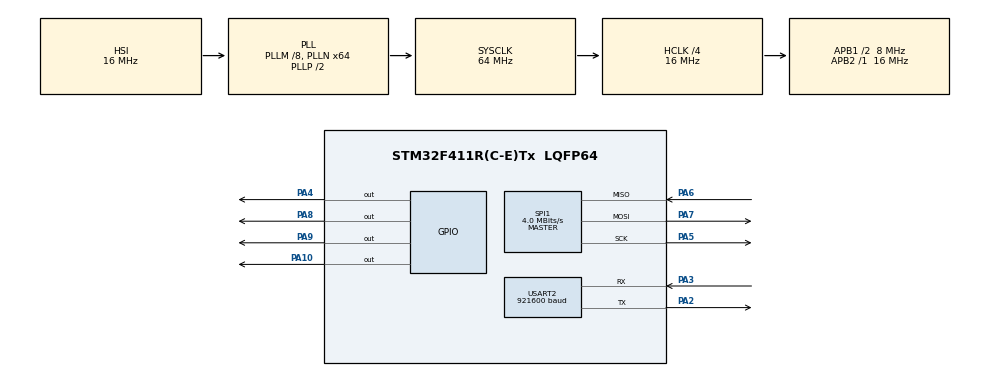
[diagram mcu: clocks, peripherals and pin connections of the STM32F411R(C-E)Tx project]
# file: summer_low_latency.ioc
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Mcu.Family=STM32F4
Mcu.Name=STM32F411R(C-E)Tx
Mcu.Package=LQFP64
NVIC.PriorityGroup=NVIC_PRIORITYGROUP_4
NVIC.TIM2_IRQn=true\:0\:0\:false\:false\:true\:true\:true\:true
PA10.Signal=GPIO_Output
PA13.Mode=Trace_Asynchronous_SW
PA13.Signal=SYS_JTMS-SWDIO
PA14.Mode=Trace_Asynchronous_SW
PA14.Signal=SYS_JTCK-SWCLK
PA2.Mode=Asynchronous
PA2.Signal=USART2_TX
PA3.Mode=Asynchronous
PA3.Signal=USART2_RX
PA4.Signal=GPIO_Output
PA5.Mode=Full_Duplex_Master
PA5.Signal=SPI1_SCK
PA6.Mode=Full_Duplex_Master
PA6.Signal=SPI1_MISO
PA7.Mode=Full_Duplex_Master
PA7.Signal=SPI1_MOSI
PA8.Signal=GPIO_Output
PA9.Signal=GPIO_Output
PB3.Mode=Trace_Asynchronous_SW
PB3.Signal=SYS_JTDO-SWO
ProjectManager.HeapSize=0x200
ProjectManager.StackSize=0x400
ProjectManager.TargetToolchain=STM32CubeIDE
RCC.48MHZClocksFreq_Value=32000000
RCC.AHBCLKDivider=RCC_SYSCLK_DIV4
RCC.AHBFreq_Value=16000000
RCC.APB1CLKDivider=RCC_HCLK_DIV2
RCC.APB1Freq_Value=8000000
RCC.APB1TimFreq_Value=16000000
RCC.APB2Freq_Value=16000000
RCC.APB2TimFreq_Value=16000000
RCC.CortexFreq_Value=16000000
RCC.HCLKFreq_Value=16000000
RCC.HSE_VALUE=25000000
RCC.HSI_VALUE=16000000
RCC.LSE_VALUE=32768
RCC.PLLM=8
RCC.PLLN=64
RCC.SYSCLKFreq_VALUE=64000000
RCC.SYSCLKSource=RCC_SYSCLKSOURCE_PLLCLK
RCC.VCOOutputFreq_Value=128000000
SPI1.BaudRatePrescaler=SPI_BAUDRATEPRESCALER_4
SPI1.CLKPhase=SPI_PHASE_2EDGE
SPI1.CLKPolarity=SPI_POLARITY_HIGH
SPI1.CalculateBaudRate=4.0 MBits/s
SPI1.Direction=SPI_DIRECTION_2LINES
SPI1.Mode=SPI_MODE_MASTER
SPI1.VirtualType=VM_MASTER
TIM2.Period=100-1
TIM2.Prescaler=1600-1
USART2.BaudRate=921600
USART2.OverSampling=UART_OVERSAMPLING_8
USART2.VirtualMode=VM_ASYNC
VP_TIM2_VS_ClockSourceINT.Mode=Internal
board=custom

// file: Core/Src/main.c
/* USER CODE BEGIN Header */
/**
  ******************************************************************************
  * @file           : main.c
  * @brief          : Main program body
  ******************************************************************************
  * @attention
  *
  * Copyright (c) 2026 STMicroelectronics.
  * All rights reserved.
  *
  * This software is licensed under terms that can be found in the LICENSE file
  * in the root directory of this software component.
  * If no LICENSE file comes with this software, it is provided AS-IS.
  *
  ******************************************************************************
  */
/* USER CODE END Header */
#include "main.h"

/* USER CODE BEGIN Includes */
#include "Fusion.h"
#include <math.h>
#include <stdio.h>
#include <string.h>
#define SPI1_CS_GPIO_Port GPIOA
#define SPI1_CS_Pin GPIO_PIN_4
/* USER CODE END Includes */

SPI_HandleTypeDef hspi1;

TIM_HandleTypeDef htim2;

UART_HandleTypeDef huart2;

/* USER CODE BEGIN PV */
volatile int16_t ax, ay, az;
volatile int16_t gx, gy, gz;

volatile uint8_t data_ready_flag = 0;
/* USER CODE END PV */

void SystemClock_Config(void);
static void MX_GPIO_Init(void);
static void MX_SPI1_Init(void);
static void MX_USART2_UART_Init(void);
static void MX_TIM2_Init(void);

/* USER CODE BEGIN 0 */
#ifdef __GNUC__
#define PUTCHAR_PROTOTYPE int __io_putchar(int ch)
#else
#define PUTCHAR_PROTOTYPE int fputc(int ch, struct __FILE *f)
#endif

  // Change &huart2 to your active UART handle if different
int _write(int file, char *ptr, int len)
{
    HAL_UART_Transmit(&huart2, (uint8_t*)ptr, len, HAL_MAX_DELAY);
    return len;
}

void ICM20948_ReadAxes(void)
{
    uint8_t txBuf[15] = {0};
    uint8_t rxBuf[15] = {0};

    txBuf[0] = 0x2D | 0x80;

    HAL_GPIO_WritePin(SPI1_CS_GPIO_Port, SPI1_CS_Pin, GPIO_PIN_RESET);
    HAL_SPI_TransmitReceive(&hspi1, txBuf, rxBuf, 15, 100);
    HAL_GPIO_WritePin(SPI1_CS_GPIO_Port, SPI1_CS_Pin, GPIO_PIN_SET);

    ax = (int16_t)((rxBuf[1] << 8) | rxBuf[2]);
    ay = (int16_t)((rxBuf[3] << 8) | rxBuf[4]);
    az = (int16_t)((rxBuf[5] << 8) | rxBuf[6]);

    gx = (int16_t)((rxBuf[7] << 8) | rxBuf[8]);
    gy = (int16_t)((rxBuf[9] << 8) | rxBuf[10]);
    gz = (int16_t)((rxBuf[11] << 8) | rxBuf[12]);
}
/* USER CODE END 0 */

int main(void)
{

  /* MCU Configuration--------------------------------------------------------*/

  /* Reset of all peripherals, Initializes the Flash interface and the Systick. */
  HAL_Init();

  /* Configure the system clock */
  SystemClock_Config();

  /* Initialize all configured peripherals */
  MX_GPIO_Init();
  MX_SPI1_Init();
  MX_USART2_UART_Init();
  MX_TIM2_Init();
  /* USER CODE BEGIN 2 */
  GPIO_InitTypeDef GPIO_InitStruct = {0};
  	uint8_t txBuf[2];
    uint8_t rxBuf[2];
    uint8_t data;

    // 1. Dummy wake up
    HAL_GPIO_WritePin(SPI1_CS_GPIO_Port, SPI1_CS_Pin, GPIO_PIN_RESET);
    HAL_Delay(100);
    HAL_GPIO_WritePin(SPI1_CS_GPIO_Port, SPI1_CS_Pin, GPIO_PIN_SET);
    HAL_Delay(100);

    // 2. Select bank 0
    HAL_GPIO_WritePin(SPI1_CS_GPIO_Port, SPI1_CS_Pin, GPIO_PIN_RESET);
    txBuf[0] = 0x7f;
    txBuf[1] = 0x00;
    HAL_SPI_Transmit(&hspi1, txBuf, 2, 100);
    HAL_GPIO_WritePin(SPI1_CS_GPIO_Port, SPI1_CS_Pin, GPIO_PIN_SET);

    HAL_Delay(100);

    // 3. Read WHO_AM_I
    HAL_GPIO_WritePin(SPI1_CS_GPIO_Port, SPI1_CS_Pin, GPIO_PIN_RESET);
    HAL_Delay(1);

    txBuf[0] = 0x80;
    txBuf[1] = 0x00;

    HAL_SPI_TransmitReceive(&hspi1, txBuf, rxBuf, 2, 100);

    HAL_GPIO_WritePin(SPI1_CS_GPIO_Port, SPI1_CS_Pin, GPIO_PIN_SET);

    // 4. Print WHO AM I
    data = rxBuf[1];
    printf("Who am I: 0x%X \r\n", data);

    uint8_t wakeBuf[2];

    wakeBuf[0] = 0x06; // PWR_MGMT_1
    wakeBuf[1] = 0x01; // Auto select clock

    HAL_GPIO_WritePin(SPI1_CS_GPIO_Port, SPI1_CS_Pin, GPIO_PIN_RESET);

    HAL_SPI_Transmit(&hspi1, wakeBuf, 2, 100);

    HAL_GPIO_WritePin(SPI1_CS_GPIO_Port, SPI1_CS_Pin, GPIO_PIN_SET);

    HAL_Delay(100);

    HAL_TIM_Base_Start_IT(&htim2);

      // Wake up the sensor (Bank 0, Reg 0x06)
      txBuf[0] = 0x06;
      txBuf[1] = 0x01;
      HAL_GPIO_WritePin(SPI1_CS_GPIO_Port, SPI1_CS_Pin, GPIO_PIN_RESET);
      HAL_SPI_Transmit(&hspi1, txBuf, 2, 100);
      HAL_GPIO_WritePin(SPI1_CS_GPIO_Port, SPI1_CS_Pin, GPIO_PIN_SET);
      HAL_Delay(50);

      // Switch to Bank 2 to access filter settings
      txBuf[0] = 0x7F;
      txBuf[1] = 0x20; // 0x20 = Bank 2
      HAL_GPIO_WritePin(SPI1_CS_GPIO_Port, SPI1_CS_Pin, GPIO_PIN_RESET);
      HAL_SPI_Transmit(&hspi1, txBuf, 2, 100);
      HAL_GPIO_WritePin(SPI1_CS_GPIO_Port, SPI1_CS_Pin, GPIO_PIN_SET);
      HAL_Delay(10);

      // Turn on Accelerometer DLPF (bandwidth approx 24Hz)
      txBuf[0] = 0x14;
      txBuf[1] = 0x21;
      HAL_GPIO_WritePin(SPI1_CS_GPIO_Port, SPI1_CS_Pin, GPIO_PIN_RESET);
      HAL_SPI_Transmit(&hspi1, txBuf, 2, 100);
      HAL_GPIO_WritePin(SPI1_CS_GPIO_Port, SPI1_CS_Pin, GPIO_PIN_SET);
      HAL_Delay(10);

      // Turn on Gyroscope DLPF (bandwidth approx 24Hz)
      txBuf[0] = 0x01;
      txBuf[1] = 0x21;
      HAL_GPIO_WritePin(SPI1_CS_GPIO_Port, SPI1_CS_Pin, GPIO_PIN_RESET);
      HAL_SPI_Transmit(&hspi1, txBuf, 2, 100);
      HAL_GPIO_WritePin(SPI1_CS_GPIO_Port, SPI1_CS_Pin, GPIO_PIN_SET);
      HAL_Delay(10);

      // Switch BACK to Bank 0
      txBuf[0] = 0x7F;
      txBuf[1] = 0x00;
      HAL_GPIO_WritePin(SPI1_CS_GPIO_Port, SPI1_CS_Pin, GPIO_PIN_RESET);
      HAL_SPI_Transmit(&hspi1, txBuf, 2, 100);
      HAL_GPIO_WritePin(SPI1_CS_GPIO_Port, SPI1_CS_Pin, GPIO_PIN_SET);
      HAL_Delay(10);

      HAL_TIM_Base_Start_IT(&htim2); // Starts timer

      HAL_GPIO_Init(GPIOA, &GPIO_InitStruct);

      const float ACCEL_SCALE = 16384.0f; // Assuming accelerometer range is ±2g
      const float GYRO_SCALE = 131.0f; // Assuming gyroscope range is ±250°/s

      // Acceleration and Gyroscope bias offsets
      const float AX_BIAS = -0.0401f;
      const float AY_BIAS = -0.0671f;
      const float AZ_BIAS = -0.1048f;

      const float GX_BIAS = -1.2682f;
      const float GY_BIAS = -1.3128f;
      // const float GZ_BIAS = -0.0054f; // GZ is not used for pitch and roll calculations

      const float FTP = 0.94f; // FTP = Filter Tuning Parameter
      const float DT = 0.01f;
      const float RAD_TO_DEG = 180.0f / (float)M_PI;

      float pitch_est = 0.0f;
      float roll_est = 0.0f;

  /* USER CODE END 2 */

  /* Infinite loop */
  /* USER CODE BEGIN WHILE */
  while (1)
  {
	  if (data_ready_flag == 1) {
		  data_ready_flag = 0;

		  HAL_GPIO_WritePin(GPIOA, GPIO_PIN_8, GPIO_PIN_SET); // Start stopwatch, turning on PA8

		  ICM20948_ReadAxes(); // Read raw data from IMU via SPI

		  // Sensor fusion math
		  float ax_g = (ax / ACCEL_SCALE) - AX_BIAS;
		  float ay_g = (ay / ACCEL_SCALE) - AY_BIAS;
		  float az_g = (az / ACCEL_SCALE) - AZ_BIAS;

		  float gx_g = (gx / GYRO_SCALE) - GX_BIAS;
		  float gy_g = (gy / ACCEL_SCALE) - GY_BIAS;
		  // float gz_g = (gz / ACCEL_SCALE) - GZ_BIAS; // Nevermind, it wasn't needed for pitch and roll estimations

		  // Pure accelerometer angles
		  float accel_pitch = atan2f(-ax_g, sqrtf(ay_g * ay_g + az_g * az_g)) * RAD_TO_DEG;
		  float accel_roll  = atan2f(ay_g, az_g) * RAD_TO_DEG;

		  // Complementary Filter
		  pitch_est = pitch_est = FTP * (pitch_est + (gy_g * DT)) + (1.0f - FTP) * accel_pitch;
		  roll_est = FTP * (roll_est + (gx_g * DT)) + (1.0f - FTP) *accel_roll;

		  uint8_t txData[10]; // Now changed from 14 to 10 bytes

		  // Sync header
		  txData[0] = 0xAA;
		  txData[1] = 0xBB;

		  // Copy pitch and roll estimations into the byte array
		  memcpy(&txData[2], &pitch_est, 4);
		  memcpy(&txData[6], &roll_est, 4);

		  HAL_UART_Transmit(&huart2, txData, 14, 10); // Send binary over UART

		  HAL_GPIO_WritePin(GPIOA, GPIO_PIN_10, GPIO_PIN_RESET); // Stop stopwatch to measure UART transmit time

	  }
    /* USER CODE END WHILE */

  }
}

void SystemClock_Config(void)
{
  RCC_OscInitTypeDef RCC_OscInitStruct = {0};
  RCC_ClkInitTypeDef RCC_ClkInitStruct = {0};

  /** Configure the main internal regulator output voltage
  */
  __HAL_RCC_PWR_CLK_ENABLE();
  __HAL_PWR_VOLTAGESCALING_CONFIG(PWR_REGULATOR_VOLTAGE_SCALE1);

  /** Initializes the RCC Oscillators according to the specified parameters
  * in the RCC_OscInitTypeDef structure.
  */
  RCC_OscInitStruct.OscillatorType = RCC_OSCILLATORTYPE_HSI;
  RCC_OscInitStruct.HSIState = RCC_HSI_ON;
  RCC_OscInitStruct.HSICalibrationValue = RCC_HSICALIBRATION_DEFAULT;
  RCC_OscInitStruct.PLL.PLLState = RCC_PLL_ON;
  RCC_OscInitStruct.PLL.PLLSource = RCC_PLLSOURCE_HSI;
  RCC_OscInitStruct.PLL.PLLM = 8;
  RCC_OscInitStruct.PLL.PLLN = 64;
  RCC_OscInitStruct.PLL.PLLP = RCC_PLLP_DIV2;
  RCC_OscInitStruct.PLL.PLLQ = 4;
  if (HAL_RCC_OscConfig(&RCC_OscInitStruct) != HAL_OK)
  {
    Error_Handler();
  }

  /** Initializes the CPU, AHB and APB buses clocks
  */
  RCC_ClkInitStruct.ClockType = RCC_CLOCKTYPE_HCLK|RCC_CLOCKTYPE_SYSCLK
                              |RCC_CLOCKTYPE_PCLK1|RCC_CLOCKTYPE_PCLK2;
  RCC_ClkInitStruct.SYSCLKSource = RCC_SYSCLKSOURCE_PLLCLK;
  RCC_ClkInitStruct.AHBCLKDivider = RCC_SYSCLK_DIV4;
  RCC_ClkInitStruct.APB1CLKDivider = RCC_HCLK_DIV2;
  RCC_ClkInitStruct.APB2CLKDivider = RCC_HCLK_DIV1;

  if (HAL_RCC_ClockConfig(&RCC_ClkInitStruct, FLASH_LATENCY_0) != HAL_OK)
  {
    Error_Handler();
  }
}

static void MX_SPI1_Init(void)
{

  /* SPI1 parameter configuration*/
  hspi1.Instance = SPI1;
  hspi1.Init.Mode = SPI_MODE_MASTER;
  hspi1.Init.Direction = SPI_DIRECTION_2LINES;
  hspi1.Init.DataSize = SPI_DATASIZE_8BIT;
  hspi1.Init.CLKPolarity = SPI_POLARITY_HIGH;
  hspi1.Init.CLKPhase = SPI_PHASE_2EDGE;
  hspi1.Init.NSS = SPI_NSS_SOFT;
  hspi1.Init.BaudRatePrescaler = SPI_BAUDRATEPRESCALER_4;
  hspi1.Init.FirstBit = SPI_FIRSTBIT_MSB;
  hspi1.Init.TIMode = SPI_TIMODE_DISABLE;
  hspi1.Init.CRCCalculation = SPI_CRCCALCULATION_DISABLE;
  hspi1.Init.CRCPolynomial = 10;
  if (HAL_SPI_Init(&hspi1) != HAL_OK)
  {
    Error_Handler();
  }

}

static void MX_TIM2_Init(void)
{

  TIM_ClockConfigTypeDef sClockSourceConfig = {0};
  TIM_MasterConfigTypeDef sMasterConfig = {0};

  htim2.Instance = TIM2;
  htim2.Init.Prescaler = 1600-1;
  htim2.Init.CounterMode = TIM_COUNTERMODE_UP;
  htim2.Init.Period = 100-1;
  htim2.Init.ClockDivision = TIM_CLOCKDIVISION_DIV1;
  htim2.Init.AutoReloadPreload = TIM_AUTORELOAD_PRELOAD_DISABLE;
  if (HAL_TIM_Base_Init(&htim2) != HAL_OK)
  {
    Error_Handler();
  }
  sClockSourceConfig.ClockSource = TIM_CLOCKSOURCE_INTERNAL;
  if (HAL_TIM_ConfigClockSource(&htim2, &sClockSourceConfig) != HAL_OK)
  {
    Error_Handler();
  }
  sMasterConfig.MasterOutputTrigger = TIM_TRGO_RESET;
  sMasterConfig.MasterSlaveMode = TIM_MASTERSLAVEMODE_DISABLE;
  if (HAL_TIMEx_MasterConfigSynchronization(&htim2, &sMasterConfig) != HAL_OK)
  {
    Error_Handler();
  }

}

static void MX_USART2_UART_Init(void)
{

  huart2.Instance = USART2;
  huart2.Init.BaudRate = 921600;
  huart2.Init.WordLength = UART_WORDLENGTH_8B;
  huart2.Init.StopBits = UART_STOPBITS_1;
  huart2.Init.Parity = UART_PARITY_NONE;
  huart2.Init.Mode = UART_MODE_TX_RX;
  huart2.Init.HwFlowCtl = UART_HWCONTROL_NONE;
  huart2.Init.OverSampling = UART_OVERSAMPLING_8;
  if (HAL_UART_Init(&huart2) != HAL_OK)
  {
    Error_Handler();
  }

}

static void MX_GPIO_Init(void)
{
  GPIO_InitTypeDef GPIO_InitStruct = {0};

  /* GPIO Ports Clock Enable */
  __HAL_RCC_GPIOA_CLK_ENABLE();
  __HAL_RCC_GPIOB_CLK_ENABLE();

  /*Configure GPIO pin Output Level */
  HAL_GPIO_WritePin(GPIOA, GPIO_PIN_4|GPIO_PIN_8|GPIO_PIN_9|GPIO_PIN_10, GPIO_PIN_RESET);

  /*Configure GPIO pins : PA4 PA8 PA9 PA10 */
  GPIO_InitStruct.Pin = GPIO_PIN_4|GPIO_PIN_8|GPIO_PIN_9|GPIO_PIN_10;
  GPIO_InitStruct.Mode = GPIO_MODE_OUTPUT_PP;
  GPIO_InitStruct.Pull = GPIO_NOPULL;
  GPIO_InitStruct.Speed = GPIO_SPEED_FREQ_LOW;
  HAL_GPIO_Init(GPIOA, &GPIO_InitStruct);

}

/* USER CODE BEGIN 4 */

void HAL_TIM_PeriodElapsedCallback(TIM_HandleTypeDef *htim) {
	if (htim->Instance == TIM2) {
		data_ready_flag = 1; // Flip flag if TIM2 turns off
	}
}

/* USER CODE END 4 */

void Error_Handler(void)
{
  __disable_irq();
  while (1)
  {
  }
}
